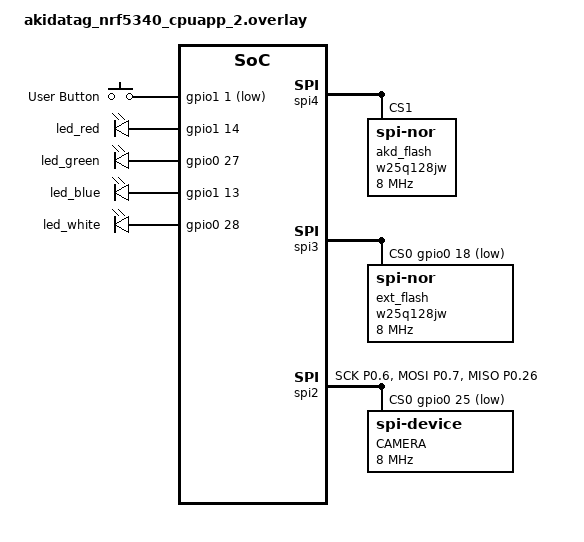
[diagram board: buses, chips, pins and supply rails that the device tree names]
/*
 * AkidaTag hardware revision 2: the camera has SPIM2 to itself behind a level
 * translator and a switched supply, both flashes are Winbond W25Q128JW, and the
 * board has red, green, blue and white LEDs and a single user button.
 */

&pinctrl {
	spi2_default: spi2_default {
		group1 {
			psels = <NRF_PSEL(SPIM_SCK, 0, 6)>,
				<NRF_PSEL(SPIM_MOSI, 0, 7)>,
				<NRF_PSEL(SPIM_MISO, 0, 26)>;
		};
	};

	spi2_sleep: spi2_sleep {
		group1 {
			psels = <NRF_PSEL(SPIM_SCK, 0, 6)>,
				<NRF_PSEL(SPIM_MOSI, 0, 7)>,
				<NRF_PSEL(SPIM_MISO, 0, 26)>;
			low-power-enable;
		};
	};
};

/ {
	chosen {
		nordic,pm-ext-flash = &ext_flash;
	};

	gpios {
		/* Output enable of the camera SPI level translators, active low. */
		cam_enb: cam_enb {
			gpios = <&gpio1 15 GPIO_ACTIVE_LOW>;
		};

		cam_pwr_enb: cam_pwr_enb {
			gpios = <&gpio1 6 GPIO_ACTIVE_HIGH>;
		};
	};

	custom_buttons {
		compatible = "gpio-keys";

		/* The board pulls this line up externally. */
		user_btn: user_btn {
			gpios = <&gpio1 1 GPIO_ACTIVE_LOW>;
			label = "User Button";
		};
	};

	custom_leds {
		compatible = "gpio-leds";

		led_red: led_red {
			gpios = <&gpio1 14 GPIO_ACTIVE_HIGH>;
		};

		led_green: led_green {
			gpios = <&gpio0 27 GPIO_ACTIVE_HIGH>;
		};

		led_blue: led_blue {
			gpios = <&gpio1 13 GPIO_ACTIVE_HIGH>;
		};

		led_white: led_white {
			gpios = <&gpio0 28 GPIO_ACTIVE_HIGH>;
		};
	};

	aliases {
		cam-enb = &cam_enb;
		user-button = &user_btn;
		mcuboot-button0 = &user_btn;
		mcuboot-led0 = &led_red;
	};
};

&spi4 {
	akd_flash: w25q128jw@1 {
		compatible = "jedec,spi-nor";
		reg = <1>;
		spi-max-frequency = <8000000>;
		size = <DT_SIZE_M(128)>;
		jedec-id = [ef 60 18];
		has-dpd;
		t-enter-dpd = <3000>;
		t-exit-dpd = <30000>;
	};
};

&spi3 {
	cs-gpios = <&gpio0 18 GPIO_ACTIVE_LOW>;

	ext_flash: w25q128jw@0 {
		compatible = "jedec,spi-nor";
		reg = <0>;
		spi-max-frequency = <8000000>;
		size = <DT_SIZE_M(128)>;
		jedec-id = [ef 60 18];
		has-dpd;
		t-enter-dpd = <3000>;
		t-exit-dpd = <30000>;
	};
};

/* Camera. SPIM2 tops out at 8 MHz, the camera's existing clock. */
&spi2 {
	compatible = "nordic,nrf-spim";
	status = "okay";
	pinctrl-0 = <&spi2_default>;
	pinctrl-1 = <&spi2_sleep>;
	pinctrl-names = "default", "sleep";
	cs-gpios = <&gpio0 25 GPIO_ACTIVE_LOW>;

	camera: camera@0 {
		compatible = "spi-device";
		reg = <0>;
		spi-max-frequency = <8000000>;
		label = "CAMERA";
	};
};
